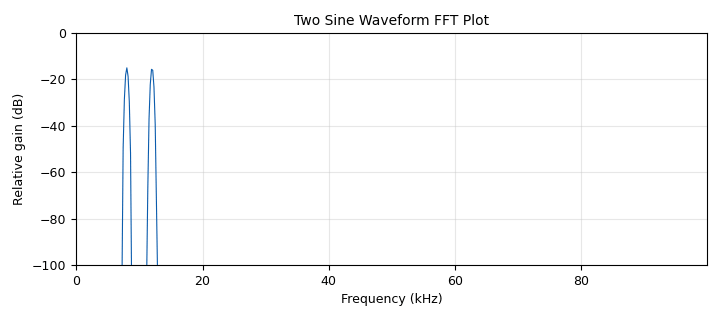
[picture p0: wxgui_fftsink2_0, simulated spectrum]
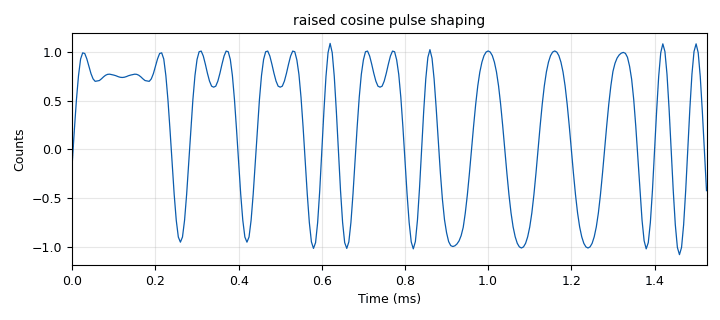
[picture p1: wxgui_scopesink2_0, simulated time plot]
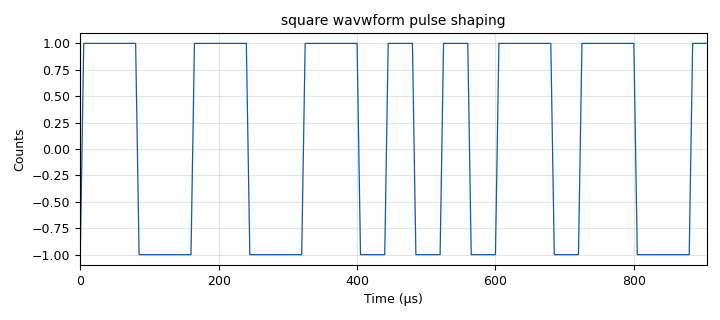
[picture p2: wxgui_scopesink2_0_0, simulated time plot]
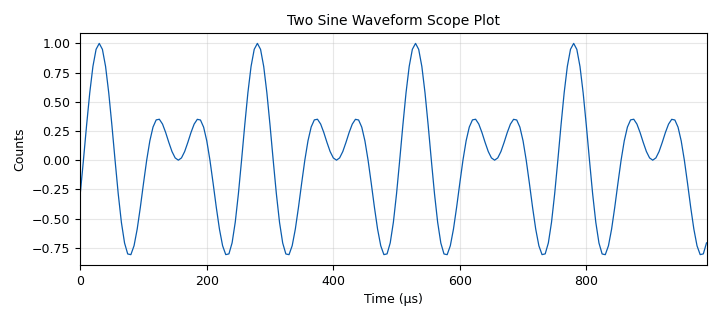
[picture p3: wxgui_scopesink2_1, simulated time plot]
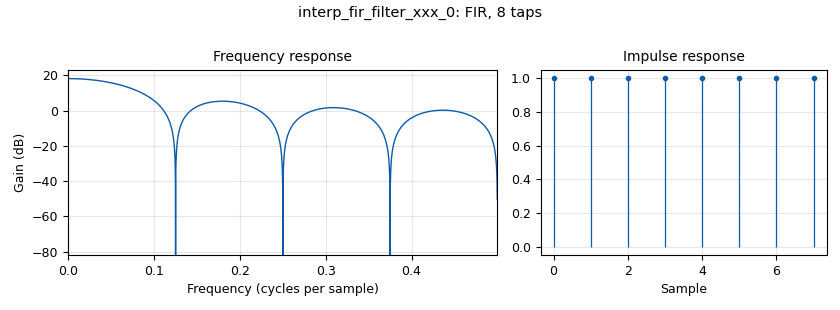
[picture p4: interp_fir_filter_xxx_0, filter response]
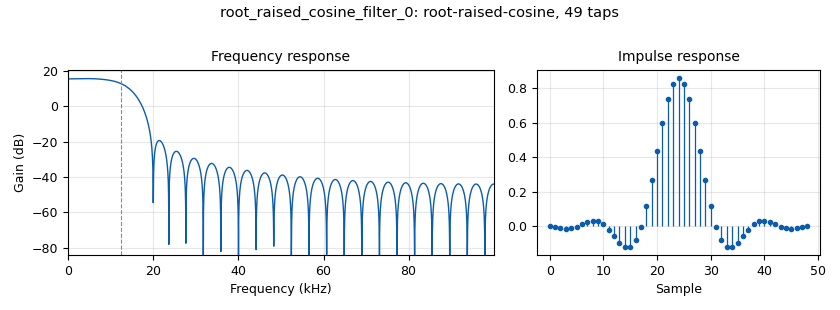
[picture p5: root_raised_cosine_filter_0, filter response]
<?xml version='1.0' encoding='utf-8'?>
<?grc format='1' created='3.7.11'?>
<flow_graph>
<block>
<key>options</key>
<param><key>id</key><value>top_block</value></param>
<param><key>author</key><value>talaei</value></param>
<param><key>category</key><value>Custom</value></param>
<param><key>generate_options</key><value>wx_gui</value></param>
<param><key>title</key><value>different wave forms</value></param>
</block>
<block>
<key>variable</key>
<param><key>id</key><value>f1</value></param>
<param><key>value</key><value>10000</value></param>
</block>
<block>
<key>variable</key>
<param><key>id</key><value>f2</value></param>
<param><key>value</key><value>2000</value></param>
</block>
<block>
<key>variable</key>
<param><key>id</key><value>samp_rate</value></param>
<param><key>value</key><value>200000</value></param>
</block>
<block>
<key>variable</key>
<param><key>id</key><value>span_in_symbol_duration</value></param>
<param><key>value</key><value>6</value></param>
</block>
<block>
<key>variable</key>
<param><key>id</key><value>upsampling_factor</value></param>
<param><key>value</key><value>8</value></param>
</block>
<block>
<key>analog_random_source_x</key>
<param><key>id</key><value>analog_random_source_x_0</value></param>
<param><key>max</key><value>2</value></param>
<param><key>min</key><value>0</value></param>
<param><key>num_samps</key><value>1000</value></param>
<param><key>type</key><value>byte</value></param>
<param><key>repeat</key><value>True</value></param>
</block>
<block>
<key>analog_sig_source_x</key>
<param><key>id</key><value>analog_sig_source_x_0</value></param>
<param><key>amp</key><value>1</value></param>
<param><key>freq</key><value>f2</value></param>
<param><key>offset</key><value>0</value></param>
<param><key>type</key><value>float</value></param>
<param><key>samp_rate</key><value>samp_rate</value></param>
<param><key>waveform</key><value>analog.GR_COS_WAVE</value></param>
</block>
<block>
<key>analog_sig_source_x</key>
<param><key>id</key><value>analog_sig_source_x_1</value></param>
<param><key>amp</key><value>1</value></param>
<param><key>freq</key><value>f1</value></param>
<param><key>offset</key><value>0</value></param>
<param><key>type</key><value>float</value></param>
<param><key>samp_rate</key><value>samp_rate</value></param>
<param><key>waveform</key><value>analog.GR_COS_WAVE</value></param>
</block>
<block>
<key>blocks_add_const_vxx</key>
<param><key>id</key><value>blocks_add_const_vxx_0</value></param>
<param><key>const</key><value>-1</value></param>
<param><key>type</key><value>float</value></param>
</block>
<block>
<key>blocks_char_to_float</key>
<param><key>id</key><value>blocks_char_to_float_0</value></param>
<param><key>scale</key><value>1</value></param>
</block>
<block>
<key>blocks_file_sink</key>
<param><key>id</key><value>blocks_file_sink_0_0_0</value></param>
<param><key>file</key><value>/home/ziyuan/Program/tobeEE/gnuradio/raised cosine_shapped_PRBS.dat</value></param>
<param><key>type</key><value>float</value></param>
</block>
<block>
<key>blocks_file_sink</key>
<param><key>id</key><value>blocks_file_sink_0_0_0_0</value></param>
<param><key>file</key><value>/home/ziyuan/Program/tobeEE/gnuradio/square_shapped_BRBS.dat</value></param>
<param><key>type</key><value>float</value></param>
</block>
<block>
<key>blocks_file_sink</key>
<param><key>id</key><value>blocks_file_sink_0_0_0_0_0</value></param>
<param><key>file</key><value>/home/ziyuan/Program/tobeEE/gnuradio/two sin waves.dat</value></param>
<param><key>type</key><value>float</value></param>
</block>
<block>
<key>blocks_multiply_const_vxx</key>
<param><key>id</key><value>blocks_multiply_const_vxx_0</value></param>
<param><key>const</key><value>2</value></param>
<param><key>type</key><value>float</value></param>
</block>
<block>
<key>blocks_multiply_xx</key>
<param><key>id</key><value>blocks_multiply_xx_0</value></param>
<param><key>type</key><value>float</value></param>
</block>
<block>
<key>blocks_throttle</key>
<param><key>id</key><value>blocks_throttle_0</value></param>
<param><key>samples_per_second</key><value>samp_rate</value></param>
<param><key>type</key><value>float</value></param>
</block>
<block>
<key>blocks_throttle</key>
<param><key>id</key><value>blocks_throttle_0_0</value></param>
<param><key>samples_per_second</key><value>samp_rate</value></param>
<param><key>type</key><value>float</value></param>
</block>
<block>
<key>blocks_vector_source_x</key>
<param><key>id</key><value>blocks_vector_source_x_0</value></param>
<param><key>_enabled</key><value>False</value></param>
<param><key>type</key><value>float</value></param>
<param><key>repeat</key><value>True</value></param>
<param><key>vector</key><value>(1,0)</value></param>
</block>
<block>
<key>interp_fir_filter_xxx</key>
<param><key>id</key><value>interp_fir_filter_xxx_0</value></param>
<param><key>interp</key><value>upsampling_factor</value></param>
<param><key>taps</key><value>(1,1,1,1,1,1,1,1)</value></param>
<param><key>type</key><value>fff</value></param>
</block>
<block>
<key>notebook</key>
<param><key>id</key><value>notebook</value></param>
<param><key>labels</key><value>['tab1', 'tab2', 'tab3']</value></param>
<param><key>style</key><value>wx.NB_TOP</value></param>
</block>
<block>
<key>root_raised_cosine_filter</key>
<param><key>id</key><value>root_raised_cosine_filter_0</value></param>
<param><key>alpha</key><value>0.500</value></param>
<param><key>type</key><value>interp_fir_filter_fff</value></param>
<param><key>gain</key><value>6</value></param>
<param><key>interp</key><value>upsampling_factor</value></param>
<param><key>ntaps</key><value>upsampling_factor*span_in_symbol_duration</value></param>
<param><key>samp_rate</key><value>samp_rate</value></param>
<param><key>sym_rate</key><value>samp_rate/upsampling_factor</value></param>
</block>
<block>
<key>wxgui_fftsink2</key>
<param><key>id</key><value>wxgui_fftsink2_0</value></param>
<param><key>avg_alpha</key><value>0</value></param>
<param><key>average</key><value>False</value></param>
<param><key>baseband_freq</key><value>0</value></param>
<param><key>fft_size</key><value>1024</value></param>
<param><key>freqvar</key><value>None</value></param>
<param><key>notebook</key><value>notebook,2</value></param>
<param><key>peak_hold</key><value>False</value></param>
<param><key>ref_level</key><value>0</value></param>
<param><key>ref_scale</key><value>2.0</value></param>
<param><key>fft_rate</key><value>15</value></param>
<param><key>samp_rate</key><value>samp_rate</value></param>
<param><key>title</key><value>Two Sine Waveform FFT Plot</value></param>
<param><key>type</key><value>float</value></param>
<param><key>win</key><value>None</value></param>
<param><key>y_divs</key><value>10</value></param>
<param><key>y_per_div</key><value>10</value></param>
</block>
<block>
<key>wxgui_scopesink2</key>
<param><key>id</key><value>wxgui_scopesink2_0</value></param>
<param><key>ac_couple</key><value>False</value></param>
<param><key>notebook</key><value>notebook,0</value></param>
<param><key>num_inputs</key><value>1</value></param>
<param><key>samp_rate</key><value>samp_rate</value></param>
<param><key>t_scale</key><value>0</value></param>
<param><key>title</key><value>raised cosine pulse shaping</value></param>
<param><key>trig_mode</key><value>wxgui.TRIG_MODE_AUTO</value></param>
<param><key>type</key><value>float</value></param>
<param><key>v_offset</key><value>0</value></param>
<param><key>v_scale</key><value>0</value></param>
<param><key>xy_mode</key><value>False</value></param>
<param><key>y_axis_label</key><value>Counts</value></param>
</block>
<block>
<key>wxgui_scopesink2</key>
<param><key>id</key><value>wxgui_scopesink2_0_0</value></param>
<param><key>ac_couple</key><value>False</value></param>
<param><key>notebook</key><value>notebook,1</value></param>
<param><key>num_inputs</key><value>1</value></param>
<param><key>samp_rate</key><value>samp_rate</value></param>
<param><key>t_scale</key><value>0</value></param>
<param><key>title</key><value>square wavwform pulse shaping</value></param>
<param><key>trig_mode</key><value>wxgui.TRIG_MODE_AUTO</value></param>
<param><key>type</key><value>float</value></param>
<param><key>v_offset</key><value>0</value></param>
<param><key>v_scale</key><value>0</value></param>
<param><key>xy_mode</key><value>False</value></param>
<param><key>y_axis_label</key><value>Counts</value></param>
</block>
<block>
<key>wxgui_scopesink2</key>
<param><key>id</key><value>wxgui_scopesink2_1</value></param>
<param><key>ac_couple</key><value>False</value></param>
<param><key>notebook</key><value>notebook,2</value></param>
<param><key>num_inputs</key><value>1</value></param>
<param><key>samp_rate</key><value>samp_rate</value></param>
<param><key>t_scale</key><value>0</value></param>
<param><key>title</key><value>Two Sine Waveform Scope Plot</value></param>
<param><key>trig_mode</key><value>wxgui.TRIG_MODE_AUTO</value></param>
<param><key>type</key><value>float</value></param>
<param><key>v_offset</key><value>0</value></param>
<param><key>v_scale</key><value>0</value></param>
<param><key>xy_mode</key><value>False</value></param>
<param><key>y_axis_label</key><value>Counts</value></param>
</block>
<connection><source_block_id>analog_random_source_x_0</source_block_id><sink_block_id>blocks_char_to_float_0</sink_block_id><source_key>0</source_key><sink_key>0</sink_key></connection>
<connection><source_block_id>analog_sig_source_x_0</source_block_id><sink_block_id>blocks_multiply_xx_0</sink_block_id><source_key>0</source_key><sink_key>1</sink_key></connection>
<connection><source_block_id>analog_sig_source_x_1</source_block_id><sink_block_id>blocks_multiply_xx_0</sink_block_id><source_key>0</source_key><sink_key>0</sink_key></connection>
<connection><source_block_id>blocks_add_const_vxx_0</source_block_id><sink_block_id>blocks_throttle_0</sink_block_id><source_key>0</source_key><sink_key>0</sink_key></connection>
<connection><source_block_id>blocks_char_to_float_0</source_block_id><sink_block_id>blocks_multiply_const_vxx_0</sink_block_id><source_key>0</source_key><sink_key>0</sink_key></connection>
<connection><source_block_id>blocks_multiply_const_vxx_0</source_block_id><sink_block_id>blocks_add_const_vxx_0</sink_block_id><source_key>0</source_key><sink_key>0</sink_key></connection>
<connection><source_block_id>blocks_multiply_xx_0</source_block_id><sink_block_id>blocks_throttle_0_0</sink_block_id><source_key>0</source_key><sink_key>0</sink_key></connection>
<connection><source_block_id>blocks_throttle_0</source_block_id><sink_block_id>interp_fir_filter_xxx_0</sink_block_id><source_key>0</source_key><sink_key>0</sink_key></connection>
<connection><source_block_id>blocks_throttle_0</source_block_id><sink_block_id>root_raised_cosine_filter_0</sink_block_id><source_key>0</source_key><sink_key>0</sink_key></connection>
<connection><source_block_id>blocks_throttle_0_0</source_block_id><sink_block_id>blocks_file_sink_0_0_0_0_0</sink_block_id><source_key>0</source_key><sink_key>0</sink_key></connection>
<connection><source_block_id>blocks_throttle_0_0</source_block_id><sink_block_id>wxgui_fftsink2_0</sink_block_id><source_key>0</source_key><sink_key>0</sink_key></connection>
<connection><source_block_id>blocks_throttle_0_0</source_block_id><sink_block_id>wxgui_scopesink2_1</sink_block_id><source_key>0</source_key><sink_key>0</sink_key></connection>
<connection><source_block_id>blocks_vector_source_x_0</source_block_id><sink_block_id>blocks_multiply_const_vxx_0</sink_block_id><source_key>0</source_key><sink_key>0</sink_key></connection>
<connection><source_block_id>interp_fir_filter_xxx_0</source_block_id><sink_block_id>blocks_file_sink_0_0_0_0</sink_block_id><source_key>0</source_key><sink_key>0</sink_key></connection>
<connection><source_block_id>interp_fir_filter_xxx_0</source_block_id><sink_block_id>wxgui_scopesink2_0_0</sink_block_id><source_key>0</source_key><sink_key>0</sink_key></connection>
<connection><source_block_id>root_raised_cosine_filter_0</source_block_id><sink_block_id>blocks_file_sink_0_0_0</sink_block_id><source_key>0</source_key><sink_key>0</sink_key></connection>
<connection><source_block_id>root_raised_cosine_filter_0</source_block_id><sink_block_id>wxgui_scopesink2_0</sink_block_id><source_key>0</source_key><sink_key>0</sink_key></connection>
</flow_graph>
